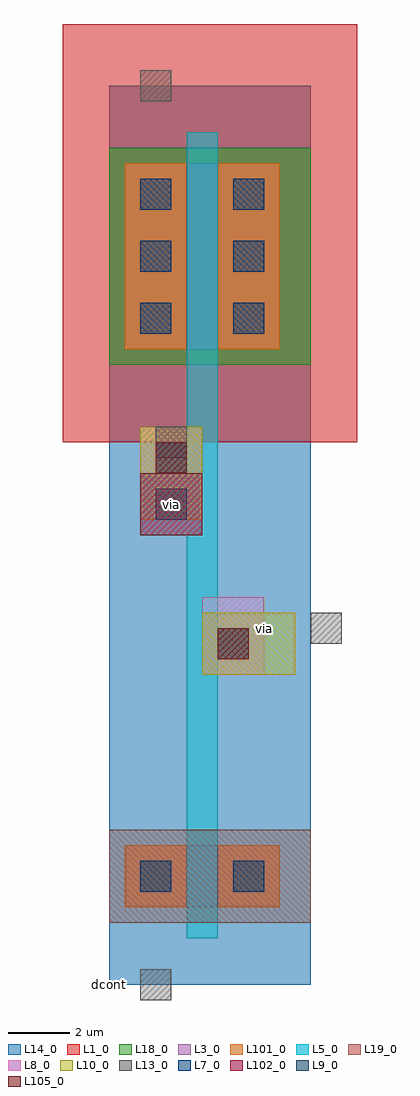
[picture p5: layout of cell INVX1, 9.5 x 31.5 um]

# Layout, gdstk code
import gdstk
lib = gdstk.Library(unit=1e-6, precision=1e-09)
def R(c, l, rs):  # rectangles x0, y0, x1, y1
    for r in rs: c.add(gdstk.rectangle(r[:2], r[2:], *l))
def A(c, l, x, y, w, h, nx, ny, dx, dy):  # array of equal rectangles
    R(c, l, [(x+i*dx, y+j*dy, x+i*dx+w, y+j*dy+h) for i in range(nx) for j in range(ny)])
def P(c, l, *ps):  # polygons
    for p in ps: c.add(gdstk.Polygon(p, *l))
L1_0 = (1, 0)
L3_0 = (3, 0)
L5_0 = (5, 0)
L7_0 = (7, 0)
L8_0 = (8, 0)
L9_0 = (9, 0)
L10_0 = (10, 0)
L13_0 = (13, 0)
L14_0 = (14, 0)
L18_0 = (18, 0)
L19_0 = (19, 0)
L101_0 = (101, 0)
L102_0 = (102, 0)
L105_0 = (105, 0)

invx1 = lib.new_cell('INVX1')
R(invx1, L1_0, [(-1.5,17.5,8,31)])
R(invx1, L3_0, [(0.5,2.5,5.5,4.5), (0.5,20.5,5.5,26.5)])
P(invx1, L5_0, [(2.5,1.5),(2.5,14.5),(1,14.5),(1,16.5),(2.5,16.5),(2.5,27.5),(3.5,27.5),(3.5,1.5)])
A(invx1, L7_0, 1, 21, 1, 1, 1, 3, 0, 2)
A(invx1, L7_0, 4, 21, 1, 1, 1, 3, 0, 2)
R(invx1, L7_0, [(1,3,2,4), (4,3,5,4), (1.5,15,2.5,16)])
R(invx1, L8_0, [(3,10,5,12.5), (1,14.5,3,18)])
R(invx1, L9_0, [(3.5,10.5,4.5,11.5), (1.5,16.5,2.5,17.5)])
R(invx1, L10_0, [(3,10,6,12), (1,15,3,18)])
A(invx1, L13_0, 1, 21, 1, 1, 1, 3, 0, 2)
A(invx1, L13_0, 4, 21, 1, 1, 1, 3, 0, 2)
R(invx1, L13_0, [(1,-0.5,2,0.5), (1,3,2,4), (4,3,5,4), (6.5,11,7.5,12), (1.5,17,2.5,18), (1,28.5,2,29.5)])
R(invx1, L14_0, [(0,0,6.5,29)])
R(invx1, L18_0, [(0,20,6.5,27)])
R(invx1, L19_0, [(0,2,6.5,5)])
R(invx1, L101_0, [(0.5,2.5,2.5,4.5), (3.5,2.5,5.5,4.5), (0.5,20.5,2.5,26.5), (3.5,20.5,5.5,26.5)])
R(invx1, L102_0, [(1,14.5,3,16.5)])
R(invx1, L105_0, [(3.5,10.5,4.5,11.5), (1.5,16.5,2.5,17.5)])
invx1.add(gdstk.Label('via', (5,11.5), layer=13, texttype=0))
invx1.add(gdstk.Label('via', (2,15.5), layer=13, texttype=0))
invx1.add(gdstk.Label('dcont', (0,0), layer=13, texttype=0))
invx1.add(gdstk.Label('dcont', (0,0), layer=13, texttype=0))
invx1.add(gdstk.Label('dcont', (0,0), layer=13, texttype=0))
invx1.add(gdstk.Label('dcont', (0,0), layer=13, texttype=0))
invx1.add(gdstk.Label('dcont', (0,0), layer=13, texttype=0))
invx1.add(gdstk.Label('dcont', (0,0), layer=13, texttype=0))
invx1.add(gdstk.Label('dcont', (0,0), layer=13, texttype=0))
invx1.add(gdstk.Label('dcont', (0,0), layer=13, texttype=0))
invx1.add(gdstk.Label('PScon', (0,0), layer=13, texttype=0))
invx1.add(gdstk.Label('dcont', (0,0), layer=13, texttype=0))
invx1.add(gdstk.Label('via', (0,0), layer=13, texttype=0))
invx1.add(gdstk.Label('via', (0,0), layer=13, texttype=0))
invx1.add(gdstk.Label('pcont', (0,0), layer=13, texttype=0))
invx1.add(gdstk.Label('NScont', (0,0), layer=13, texttype=0))
invx1.add(gdstk.Label('dcont', (0,0), layer=13, texttype=0))

lib.write_gds('INVX1.gds')
